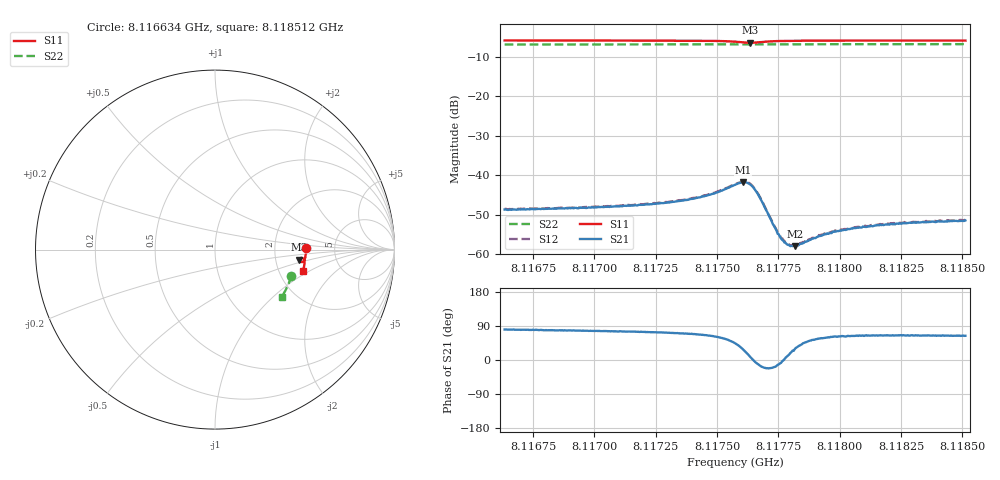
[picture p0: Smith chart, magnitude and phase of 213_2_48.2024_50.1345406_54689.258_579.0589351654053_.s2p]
#  HZ  S  RI  R  50.00
! Rohde & Schwarz Vector Network Analyzer
! Rohde-Schwarz,ZNB20-2Port,1311601062101988,3.16
! Created: UTC 3/20/2024, 11:45:37 AM
! freq[Hz]  re:S11  im:S11  re:S21  im:S21  re:S12  im:S12  re:S22  im:S22
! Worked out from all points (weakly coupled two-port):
!   401 points, 8.116634 GHz to 8.118512 GHz, reference 50 ohm
!   highest |S21| = -41.80 dB at 8.117606 GHz (marker M1); lowest = -58.0 dB at 8.117817 GHz (marker M2)
!   lowest |S11| = -6.5 dB at 8.117634 GHz (marker M3), VSWR 2.80, Z = 137 - j20 ohm
!   |S11| at or under -10 dB: nowhere
!   |S22| runs from -6.9 to -6.8 dB; largest |S21 - S12| = 0.00019
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8.1166338e9  0.5067 0.011  0.000601 0.00362  0.000667 0.00366  0.4262 -0.1447
8.1169484e9  0.5062 -0.0133  0.000856 0.00376  0.00089 0.00379  0.4193 -0.1658
8.117263e9  0.5037 -0.0388  0.0013 0.00418  0.00137 0.00428  0.4117 -0.1863
8.117371e9  0.5017 -0.0486  0.00167 0.00455  0.00174 0.00459  0.4088 -0.1933
8.1174321e9  0.4999 -0.0549  0.00205 0.00483  0.00215 0.00492  0.407 -0.1973
8.1174978e9  0.4959 -0.0622  0.0029 0.00529  0.00303 0.00535  0.405 -0.2015
8.1175729e9  0.4839 -0.0694  0.0054 0.00526  0.00558 0.00534  0.4024 -0.2062
8.1176058e9  0.4747 -0.0665  0.00717 0.00382  0.00732 0.00382  0.4009 -0.2079
8.117634e9  0.4706 -0.0568  0.00756 0.00118  0.00774 0.00114  0.4 -0.2092
8.1176528e9  0.4737 -0.05  0.00664 -0.000456  0.00674 -0.000529  0.3998 -0.2099
8.1176715e9  0.4794 -0.0465  0.00521 -0.00128  0.0053 -0.00136  0.3994 -0.2111
8.1177373e9  0.494 -0.0521  0.00203 -0.000653  0.00206 -0.000644  0.3981 -0.2154
8.1177561e9  0.4957 -0.0548  0.00164 -0.000263  0.0017 -0.000257  0.3977 -0.2168
8.1177701e9  0.4967 -0.057  0.00147 -2.55e-05  0.00151 -6.71e-05  0.3973 -0.2175
8.1177889e9  0.4975 -0.0595  0.00129 0.000268  0.00133 0.000268  0.3967 -0.2189
8.1178171e9  0.4985 -0.0631  0.0011 0.000611  0.00113 0.000629  0.3959 -0.2206
8.1178875e9  0.4988 -0.0709  0.000944 0.00126  0.000986 0.00127  0.3936 -0.2252
8.1179392e9  0.4986 -0.076  0.000932 0.00153  0.000998 0.00154  0.392 -0.2284
8.1179908e9  0.4982 -0.0806  0.000934 0.00172  0.000951 0.00174  0.3902 -0.2317
8.118066e9  0.4973 -0.0871  0.000937 0.00193  0.000984 0.00197  0.3877 -0.2364
8.1182021e9  0.4955 -0.0981  0.001 0.00215  0.00101 0.00216  0.383 -0.2448
8.118512e9  0.4901 -0.1216  0.00117 0.00239  0.0012 0.00244  0.3716 -0.2631
